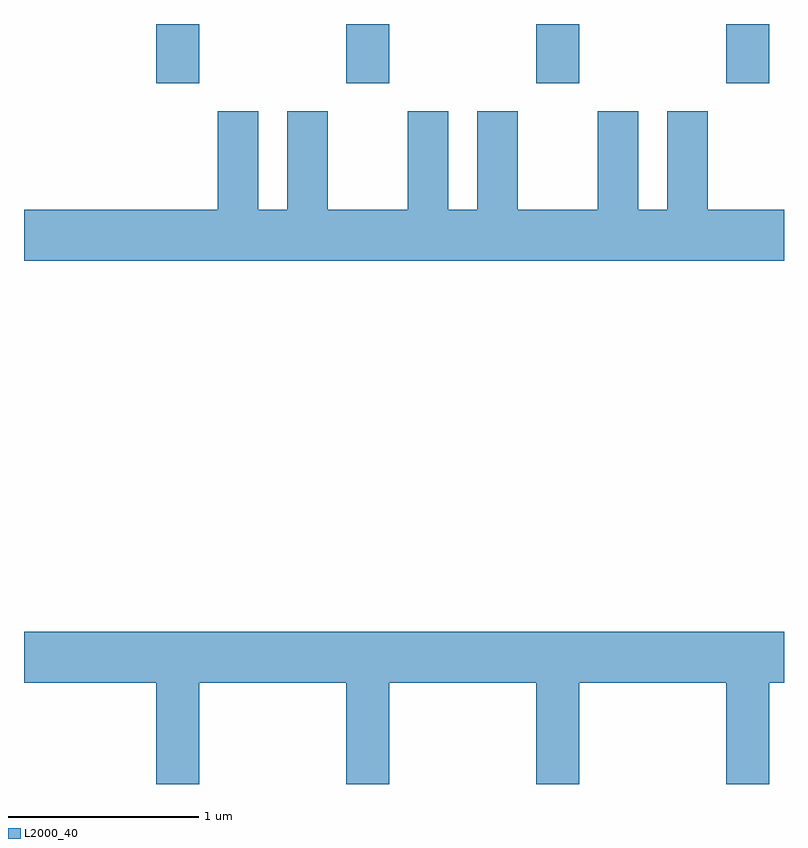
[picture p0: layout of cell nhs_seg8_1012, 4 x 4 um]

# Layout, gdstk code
import gdstk
lib = gdstk.Library(unit=1e-6, precision=1e-09)
def R(c, l, rs):  # rectangles x0, y0, x1, y1
    for r in rs: c.add(gdstk.rectangle(r[:2], r[2:], *l))
def A(c, l, x, y, w, h, nx, ny, dx, dy):  # array of equal rectangles
    R(c, l, [(x+i*dx, y+j*dy, x+i*dx+w, y+j*dy+h) for i in range(nx) for j in range(ny)])
def P(c, l, *ps):  # polygons
    for p in ps: c.add(gdstk.Polygon(p, *l))
L2000_40 = (2000, 40)

nhs_seg8_1012 = lib.new_cell('nhs_seg8_1012')
A(nhs_seg8_1012, L2000_40, 216.306, 1824.031, 0.228, 0.311, 4, 1, 1, 0)
P(nhs_seg8_1012, L2000_40, [(219.611,1823.364),(219.209,1823.364),(219.209,1823.884),(218.996,1823.884),(218.996,1823.364),(218.844,1823.364),(218.844,1823.884),(218.631,1823.884),(218.631,1823.364),(218.209,1823.364),(218.209,1823.884),(217.996,1823.884),(217.996,1823.364),(217.844,1823.364),(217.844,1823.884),(217.631,1823.884),(217.631,1823.364),(217.209,1823.364),(217.209,1823.884),(216.996,1823.884),(216.996,1823.364),(216.844,1823.364),(216.844,1823.884),(216.631,1823.884),(216.631,1823.364),(215.611,1823.364),(215.611,1823.096),(219.611,1823.096)],
  [(216.534,1820.876),(217.306,1820.876),(217.306,1820.342),(217.534,1820.342),(217.534,1820.876),(218.306,1820.876),(218.306,1820.342),(218.534,1820.342),(218.534,1820.876),(219.306,1820.876),(219.306,1820.342),(219.534,1820.342),(219.534,1820.876),(219.611,1820.876),(219.611,1821.144),(215.611,1821.144),(215.611,1820.876),(216.306,1820.876),(216.306,1820.342),(216.534,1820.342)])

lib.write_gds('nhs_seg8_1012.gds')
